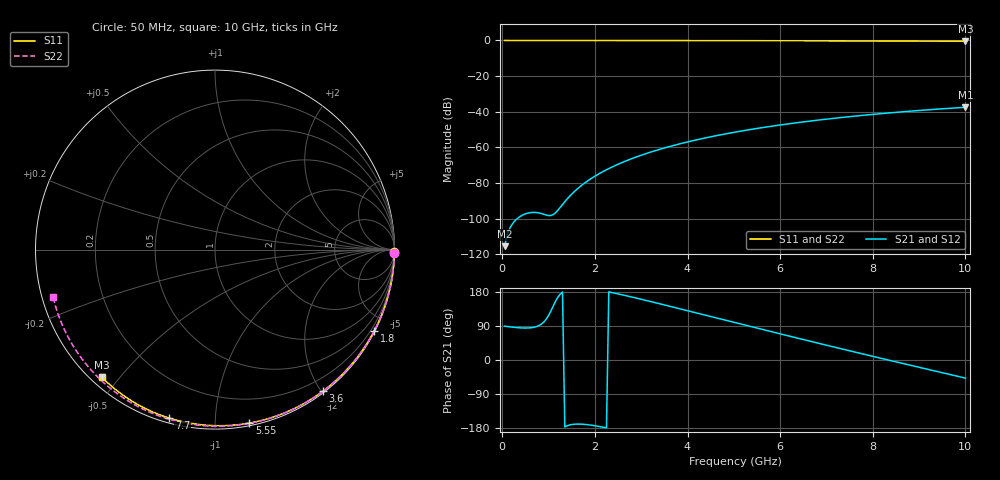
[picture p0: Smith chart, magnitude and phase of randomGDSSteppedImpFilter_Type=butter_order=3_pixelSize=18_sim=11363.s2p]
! freq	dB(S11)	phase(S11)	dB(S12)	phase(S12)
!  dB(S21)	phase(S21)	dB(S22)	phase(S22)
!S-par simulation data
#  GHz  S  DB  R 50
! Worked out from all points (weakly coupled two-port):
!   200 points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, 50 MHz to 10 GHz, reference 50 ohm
!   highest |S21| = -37.49 dB at 10 GHz (marker M1); lowest = -115.4 dB at 50 MHz (marker M2)
!   lowest |S11| = -0.4 dB at 10 GHz (marker M3), VSWR 39.04, Z = 1.54 - j22.4 ohm
!   |S11| at or under -10 dB: nowhere
!   |S22| runs from -0.5 to 0.0 dB; largest |S21 - S12| = 0
!   S11 on the Smith chart (normalised r, x): 50 MHz: open; 1.8 GHz: 0.04, -4.17; 3.6 GHz: 0.02, -2.02; 5.55 GHz: 0.02, -1.22; 7.7 GHz: 0.02, -0.76; 10 GHz: 0.03, -0.45
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0.05  -0.00 -0.8  -115.40 89.2  -115.40 89.2  -0.00 -1.0
0.45  -0.01 -6.8  -97.80 84.4  -97.80 84.4  -0.01 -8.6
0.85  -0.02 -12.9  -97.14 95.2  -97.14 95.2  -0.02 -16.2
1.3  -0.02 -19.6  -92.03 179.4  -92.03 179.4  -0.03 -24.6
1.75  -0.03 -26.2  -80.53 -169.6  -80.53 -169.6  -0.04 -33.0
1.8  -0.03 -27.0  -79.57 -170.2  -79.57 -170.2  -0.04 -33.9
1.95  -0.04 -29.2  -76.94 -172.5  -76.94 -172.5  -0.05 -36.6
2.1  -0.04 -31.4  -74.61 -175.6  -74.61 -175.6  -0.05 -39.4
2.3  -0.04 -34.3  -71.86 179.7  -71.86 179.7  -0.05 -43.0
2.5  -0.05 -37.2  -69.44 174.5  -69.44 174.5  -0.06 -46.6
2.9  -0.06 -42.9  -65.29 163.2  -65.29 163.2  -0.07 -53.7
3.4  -0.07 -50.0  -61.06 148.4  -61.06 148.4  -0.08 -62.4
3.6  -0.07 -52.8  -59.58 142.3  -59.58 142.3  -0.09 -65.8
4.3  -0.09 -62.3  -55.14 120.9  -55.14 120.9  -0.11 -77.5
5.05  -0.11 -72.3  -51.31 97.9  -51.31 97.9  -0.14 -89.7
5.55  -0.13 -78.8  -49.15 82.7  -49.15 82.7  -0.16 -97.6
6.1  -0.15 -85.8  -47.05 66.0  -47.05 66.0  -0.19 -106.0
6.7  -0.18 -93.2  -45.05 48.0  -45.05 48.0  -0.22 -115.1
7.7  -0.24 -105.2  -42.22 18.4  -42.22 18.4  -0.30 -129.8
8.35  -0.29 -112.8  -40.66 -0.5  -40.66 -0.5  -0.35 -139.3
9.2  -0.36 -122.6  -38.89 -25.0  -38.89 -25.0  -0.44 -151.8
10  -0.45 -131.6  -37.49 -47.7  -37.49 -47.7  -0.54 -163.8
